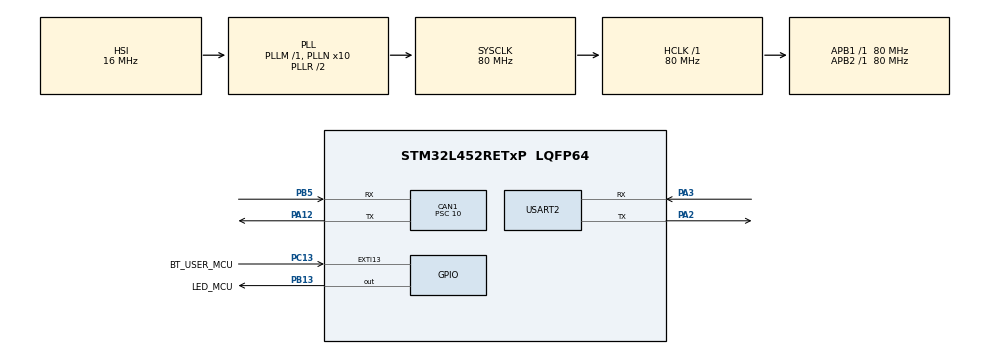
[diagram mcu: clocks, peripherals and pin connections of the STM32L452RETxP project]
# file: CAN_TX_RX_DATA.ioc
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CAN1.BS1=CAN_BS1_13TQ
CAN1.BS2=CAN_BS2_2TQ
CAN1.CalculateBaudRate=500000
CAN1.CalculateTimeBit=2000
CAN1.CalculateTimeQuantum=125.0
CAN1.Mode=CAN_MODE_NORMAL
CAN1.Prescaler=10
Mcu.Family=STM32L4
Mcu.Name=STM32L452RETxP
Mcu.Package=LQFP64
NVIC.CAN1_RX0_IRQn=true\:1\:0\:true\:false\:true\:true\:true\:true
NVIC.EXTI15_10_IRQn=true\:0\:0\:false\:false\:true\:true\:true\:true
NVIC.PriorityGroup=NVIC_PRIORITYGROUP_4
PA12.Mode=CAN_Activate
PA12.Signal=CAN1_TX
PA13\ (JTMS/SWDIO).Mode=Serial_Wire
PA13\ (JTMS/SWDIO).Signal=SYS_JTMS-SWDIO
PA14\ (JTCK/SWCLK).Mode=Serial_Wire
PA14\ (JTCK/SWCLK).Signal=SYS_JTCK-SWCLK
PA2.Mode=Asynchronous
PA2.Signal=USART2_TX
PA3.Mode=Asynchronous
PA3.Signal=USART2_RX
PB13.GPIO_Label=LED_MCU
PB13.Signal=GPIO_Output
PB5.Mode=CAN_Activate
PB5.Signal=CAN1_RX
PC13.GPIO_Label=BT_USER_MCU
PC13.Signal=GPXTI13
PH0-OSC_IN\ (PH0).Mode=HSE-External-Oscillator
PH0-OSC_IN\ (PH0).Signal=RCC_OSC_IN
PH1-OSC_OUT\ (PH1).Mode=HSE-External-Oscillator
PH1-OSC_OUT\ (PH1).Signal=RCC_OSC_OUT
ProjectManager.HeapSize=0x200
ProjectManager.StackSize=0x400
ProjectManager.TargetToolchain=STM32CubeIDE
RCC.ADCFreq_Value=64000000
RCC.AHBFreq_Value=80000000
RCC.APB1Freq_Value=80000000
RCC.APB1TimFreq_Value=80000000
RCC.APB2Freq_Value=80000000
RCC.APB2TimFreq_Value=80000000
RCC.CortexFreq_Value=80000000
RCC.HCLKFreq_Value=80000000
RCC.HSE_VALUE=8000000
RCC.HSI48_VALUE=48000000
RCC.HSI_VALUE=16000000
RCC.LSE_VALUE=32768
RCC.MSI_VALUE=4000000
RCC.PLLN=10
RCC.PLLSourceVirtual=RCC_PLLSOURCE_HSI
RCC.PREFETCH_ENABLE=1
RCC.SYSCLKFreq_VALUE=80000000
RCC.SYSCLKSource=RCC_SYSCLKSOURCE_PLLCLK
RCC.USBFreq_Value=64000000
RCC.VCOOutputFreq_Value=160000000
USART2.VirtualMode-Asynchronous=VM_ASYNC
board=NUCLEO-L452RE-P

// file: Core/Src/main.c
/* USER CODE BEGIN Header */
/**
 ******************************************************************************
 * @file           : main.c
 * @brief          : Main program body
 ******************************************************************************
 * @attention
 *
 * Copyright (c) 2023 STMicroelectronics.
 * All rights reserved.
 *
 * This software is licensed under terms that can be found in the LICENSE file
 * in the root directory of this software component.
 * If no LICENSE file comes with this software, it is provided AS-IS.
 *
 ******************************************************************************
 */
/* USER CODE END Header */
#include "main.h"

void SystemClock_Config(void);
static void MX_GPIO_Init(void);
static void MX_CAN1_Init(void);
static void MX_USART2_UART_Init(void);

/* USER CODE BEGIN 0 */

extern CAN_HandleTypeDef hcan1;
extern UART_HandleTypeDef huart2;
extern CAN_RxHeaderTypeDef RxHeader;
extern uint8_t RxData[8];
CAN_TxHeaderTypeDef TxHeader;
uint8_t TxData[8];
uint32_t TxMailbox;

/* USER CODE END 0 */

int main(void)
{

  /* MCU Configuration--------------------------------------------------------*/

  /* Reset of all peripherals, Initializes the Flash interface and the Systick. */
  HAL_Init();

  /* Configure the system clock */
  SystemClock_Config();

  /* Initialize all configured peripherals */
  MX_GPIO_Init();
  MX_CAN1_Init();
  MX_USART2_UART_Init();
  /* USER CODE BEGIN 2 */

	HAL_CAN_Start(&hcan1);
	HAL_CAN_ActivateNotification(&hcan1, CAN_IT_RX_FIFO0_MSG_PENDING);

	TxHeader.StdId = 0x101;
	TxHeader.DLC = 8;
	TxHeader.IDE = CAN_ID_STD;
	TxHeader.RTR = CAN_RTR_DATA;

	TxData[0] = 0x01;
	TxData[1] = 0x02;
	TxData[2] = 0x03;
	TxData[3] = 0x04;
	TxData[4] = 0x05;
	TxData[5] = 0x06;
	TxData[6] = 0x07;
	TxData[7] = 0x08;

	HAL_CAN_AddTxMessage(&hcan1, &TxHeader, TxData, &TxMailbox);

	uint8_t Test[] = "Hello World !!!\r\n"; //Data to send
	HAL_UART_Transmit(&huart2,Test,sizeof(Test),10);// Sending in normal mode
	HAL_Delay(1000);

  /* USER CODE END 2 */

  /* Infinite loop */
	while (1) {

    /* USER CODE BEGIN 3 */

//		HAL_Delay(50);
//		counter = counter + 1;
//
//		if (counter == 255) {
//			counter = 0;
//		}
//
//		TxData[0] = 10;
//		TxData[1] = 11;
//		TxData[2] = counter;
//
//		HAL_CAN_AddTxMessage(&hcan1, &TxHeader, TxData, &TxMailbox);

	}
  /* USER CODE END 3 */
}

void SystemClock_Config(void)
{
  RCC_OscInitTypeDef RCC_OscInitStruct = {0};
  RCC_ClkInitTypeDef RCC_ClkInitStruct = {0};

  /** Configure the main internal regulator output voltage
  */
  if (HAL_PWREx_ControlVoltageScaling(PWR_REGULATOR_VOLTAGE_SCALE1) != HAL_OK)
  {
    Error_Handler();
  }

  /** Initializes the RCC Oscillators according to the specified parameters
  * in the RCC_OscInitTypeDef structure.
  */
  RCC_OscInitStruct.OscillatorType = RCC_OSCILLATORTYPE_HSI;
  RCC_OscInitStruct.HSIState = RCC_HSI_ON;
  RCC_OscInitStruct.HSICalibrationValue = RCC_HSICALIBRATION_DEFAULT;
  RCC_OscInitStruct.PLL.PLLState = RCC_PLL_ON;
  RCC_OscInitStruct.PLL.PLLSource = RCC_PLLSOURCE_HSI;
  RCC_OscInitStruct.PLL.PLLM = 1;
  RCC_OscInitStruct.PLL.PLLN = 10;
  RCC_OscInitStruct.PLL.PLLP = RCC_PLLP_DIV7;
  RCC_OscInitStruct.PLL.PLLQ = RCC_PLLQ_DIV2;
  RCC_OscInitStruct.PLL.PLLR = RCC_PLLR_DIV2;
  if (HAL_RCC_OscConfig(&RCC_OscInitStruct) != HAL_OK)
  {
    Error_Handler();
  }

  /** Initializes the CPU, AHB and APB buses clocks
  */
  RCC_ClkInitStruct.ClockType = RCC_CLOCKTYPE_HCLK|RCC_CLOCKTYPE_SYSCLK
                              |RCC_CLOCKTYPE_PCLK1|RCC_CLOCKTYPE_PCLK2;
  RCC_ClkInitStruct.SYSCLKSource = RCC_SYSCLKSOURCE_PLLCLK;
  RCC_ClkInitStruct.AHBCLKDivider = RCC_SYSCLK_DIV1;
  RCC_ClkInitStruct.APB1CLKDivider = RCC_HCLK_DIV1;
  RCC_ClkInitStruct.APB2CLKDivider = RCC_HCLK_DIV1;

  if (HAL_RCC_ClockConfig(&RCC_ClkInitStruct, FLASH_LATENCY_4) != HAL_OK)
  {
    Error_Handler();
  }
}

static void MX_CAN1_Init(void)
{

  hcan1.Instance = CAN1;
  hcan1.Init.Prescaler = 10;
  hcan1.Init.Mode = CAN_MODE_NORMAL;
  hcan1.Init.SyncJumpWidth = CAN_SJW_1TQ;
  hcan1.Init.TimeSeg1 = CAN_BS1_13TQ;
  hcan1.Init.TimeSeg2 = CAN_BS2_2TQ;
  hcan1.Init.TimeTriggeredMode = DISABLE;
  hcan1.Init.AutoBusOff = DISABLE;
  hcan1.Init.AutoWakeUp = DISABLE;
  hcan1.Init.AutoRetransmission = DISABLE;
  hcan1.Init.ReceiveFifoLocked = DISABLE;
  hcan1.Init.TransmitFifoPriority = DISABLE;
  if (HAL_CAN_Init(&hcan1) != HAL_OK)
  {
    Error_Handler();
  }
  /* USER CODE BEGIN CAN1_Init 2 */

	CAN_FilterTypeDef canfilterconfig;

	canfilterconfig.FilterActivation = CAN_FILTER_ENABLE;
	canfilterconfig.FilterBank = 0;
	canfilterconfig.FilterFIFOAssignment = CAN_FILTER_FIFO0;
	canfilterconfig.FilterIdHigh = 0x0000;
	canfilterconfig.FilterIdLow = 0x0000;
	canfilterconfig.FilterMaskIdHigh = 0x00;
	canfilterconfig.FilterMaskIdLow = 0x0000;
	canfilterconfig.FilterMode = CAN_FILTERMODE_IDMASK;
	canfilterconfig.FilterScale = CAN_FILTERSCALE_32BIT;

	HAL_CAN_ConfigFilter(&hcan1, &canfilterconfig);

  /* USER CODE END CAN1_Init 2 */

}

static void MX_USART2_UART_Init(void)
{

  huart2.Instance = USART2;
  huart2.Init.BaudRate = 115200;
  huart2.Init.WordLength = UART_WORDLENGTH_8B;
  huart2.Init.StopBits = UART_STOPBITS_1;
  huart2.Init.Parity = UART_PARITY_NONE;
  huart2.Init.Mode = UART_MODE_TX_RX;
  huart2.Init.HwFlowCtl = UART_HWCONTROL_NONE;
  huart2.Init.OverSampling = UART_OVERSAMPLING_16;
  huart2.Init.OneBitSampling = UART_ONE_BIT_SAMPLE_DISABLE;
  huart2.AdvancedInit.AdvFeatureInit = UART_ADVFEATURE_NO_INIT;
  if (HAL_UART_Init(&huart2) != HAL_OK)
  {
    Error_Handler();
  }

}

static void MX_GPIO_Init(void)
{
  GPIO_InitTypeDef GPIO_InitStruct = {0};

  /* GPIO Ports Clock Enable */
  __HAL_RCC_GPIOC_CLK_ENABLE();
  __HAL_RCC_GPIOH_CLK_ENABLE();
  __HAL_RCC_GPIOA_CLK_ENABLE();
  __HAL_RCC_GPIOB_CLK_ENABLE();

  /*Configure GPIO pin Output Level */
  HAL_GPIO_WritePin(LED_MCU_GPIO_Port, LED_MCU_Pin, GPIO_PIN_RESET);

  /*Configure GPIO pin : BT_USER_MCU_Pin */
  GPIO_InitStruct.Pin = BT_USER_MCU_Pin;
  GPIO_InitStruct.Mode = GPIO_MODE_IT_RISING;
  GPIO_InitStruct.Pull = GPIO_NOPULL;
  HAL_GPIO_Init(BT_USER_MCU_GPIO_Port, &GPIO_InitStruct);

  /*Configure GPIO pin : LED_MCU_Pin */
  GPIO_InitStruct.Pin = LED_MCU_Pin;
  GPIO_InitStruct.Mode = GPIO_MODE_OUTPUT_PP;
  GPIO_InitStruct.Pull = GPIO_NOPULL;
  GPIO_InitStruct.Speed = GPIO_SPEED_FREQ_LOW;
  HAL_GPIO_Init(LED_MCU_GPIO_Port, &GPIO_InitStruct);

  /* EXTI interrupt init*/
  HAL_NVIC_SetPriority(EXTI15_10_IRQn, 0, 0);
  HAL_NVIC_EnableIRQ(EXTI15_10_IRQn);

}

void Error_Handler(void)
{
	__disable_irq();
	while (1) {
	}
}
